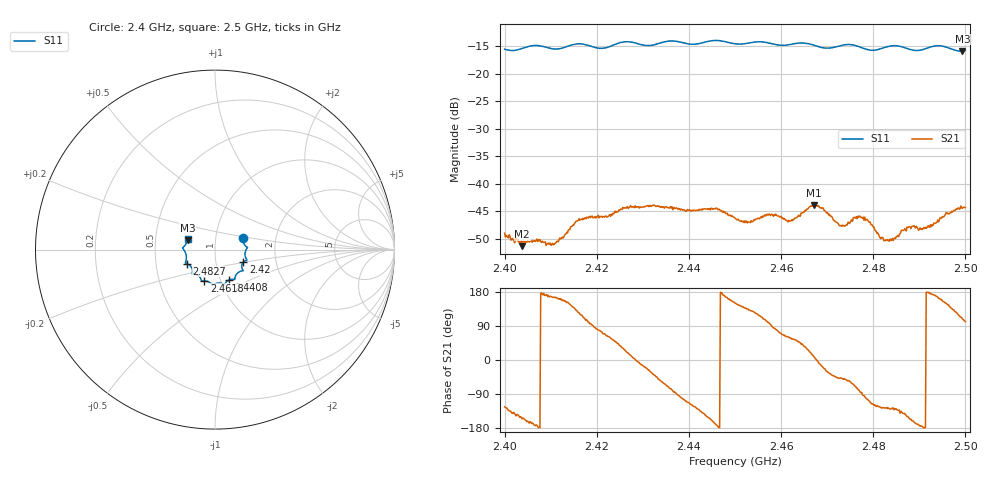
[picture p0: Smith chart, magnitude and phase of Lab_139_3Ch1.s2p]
# Hz S RI R 50
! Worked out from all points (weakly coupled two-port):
!   601 points, 2.4 GHz to 2.5 GHz, reference 50 ohm
!   highest |S21| = -43.87 dB at 2.4672 GHz (marker M1); lowest = -51.4 dB at 2.4038 GHz (marker M2)
!   lowest |S11| = -15.8 dB at 2.4993 GHz (marker M3), VSWR 1.39, Z = 36.6 + j3.89 ohm
!   |S11| at or under -10 dB: start of sweep to end of sweep
!   S12 and S22 are empty: the file has one direction only
!   S11 on the Smith chart (normalised r, x): 2.4 GHz: 1.36, +0.17; 2.42 GHz: 1.36, -0.19; 2.4408 GHz: 1.10, -0.39; 2.4618 GHz: 0.84, -0.30; 2.4827 GHz: 0.72, -0.12; 2.5 GHz: 0.73, +0.09
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2.4e9  0.1561 0.0622  -0.00195 -0.00296  0 0  0 0
2.403833e9  0.1697 0.0203  -0.00246 -0.00113  0 0  0 0
2.4105e9  0.1687 -0.0117  -0.00274 0.000724  0 0  0 0
2.416667e9  0.1781 -0.0594  -0.00231 0.00417  0 0  0 0
2.42e9  0.1581 -0.0693  0.00066 0.00495  0 0  0 0
2.426167e9  0.1575 -0.1173  0.00547 0.00264  0 0  0 0
2.433333e9  0.1119 -0.152  0.004 -0.00474  0 0  0 0
2.440833e9  0.079 -0.1688  -0.00293 -0.00485  0 0  0 0
2.446e9  0.0516 -0.1949  -0.00595 -0.000863  0 0  0 0
2.45e9  0.028 -0.1859  -0.00423 0.00243  0 0  0 0
2.453167e9  -0.00234 -0.192  -0.00295 0.00334  0 0  0 0
2.4575e9  -0.0209 -0.1895  -0.000595 0.00528  0 0  0 0
2.461833e9  -0.06 -0.1752  0.00231 0.00394  0 0  0 0
2.466667e9  -0.0769 -0.1686  0.00603 0.00164  0 0  0 0
2.467167e9  -0.078 -0.165  0.00634 0.000941  0 0  0 0
2.473167e9  -0.1224 -0.1352  0.00271 -0.00306  0 0  0 0
2.476167e9  -0.1261 -0.1305  0.0017 -0.00456  0 0  0 0
2.478333e9  -0.1265 -0.1114  -0.000768 -0.00459  0 0  0 0
2.482667e9  -0.157 -0.0776  -0.0018 -0.00245  0 0  0 0
2.483333e9  -0.1612 -0.0762  -0.00181 -0.00242  0 0  0 0
2.499333e9  -0.1529 0.0518  -0.00196 0.00565  0 0  0 0
2.5e9  -0.1517 0.0614  -0.00121 0.00597  0 0  0 0
